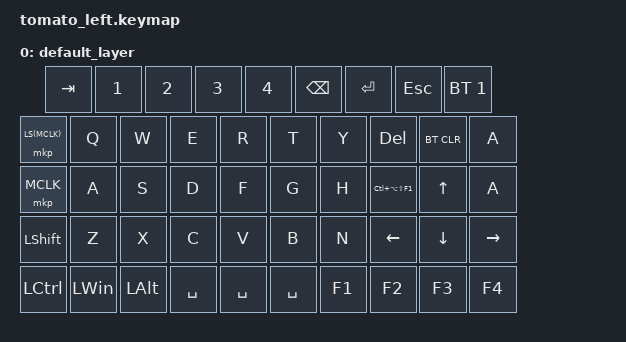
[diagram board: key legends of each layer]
#include <behaviors.dtsi>
#include <dt-bindings/zmk/keys.h>
#include <dt-bindings/zmk/bt.h>
#include <dt-bindings/zmk/pointing.h>

/ {
    keymap {
        compatible = "zmk,keymap";

        default_layer {
            bindings = <
                &kp TAB    &kp N1    &kp N2    &kp N3    &kp N4    &kp BACKSPACE    &kp ENTER    &kp ESCAPE    &bt BT_SEL 1 
                &mkp LS(MCLK)    &kp Q    &kp W    &kp E    &kp R    &kp T    &kp Y    &kp DELETE    &bt BT_CLR    &kp A
                &mkp MCLK   &kp A    &kp S    &kp D    &kp F    &kp G    &kp H    &kp LC(LA(LS(F1)))    &kp UP    &kp A
                &kp LSHIFT   &kp Z    &kp X    &kp C    &kp V    &kp B    &kp N    &kp LEFT    &kp DOWN    &kp RIGHT
                &kp LCTRL     &kp LEFT_WIN    &kp LALT    &kp SPACE    &kp SPACE    &kp SPACE    &kp F1    &kp F2    &kp F3    &kp F4
            >;
        };
    };
};
